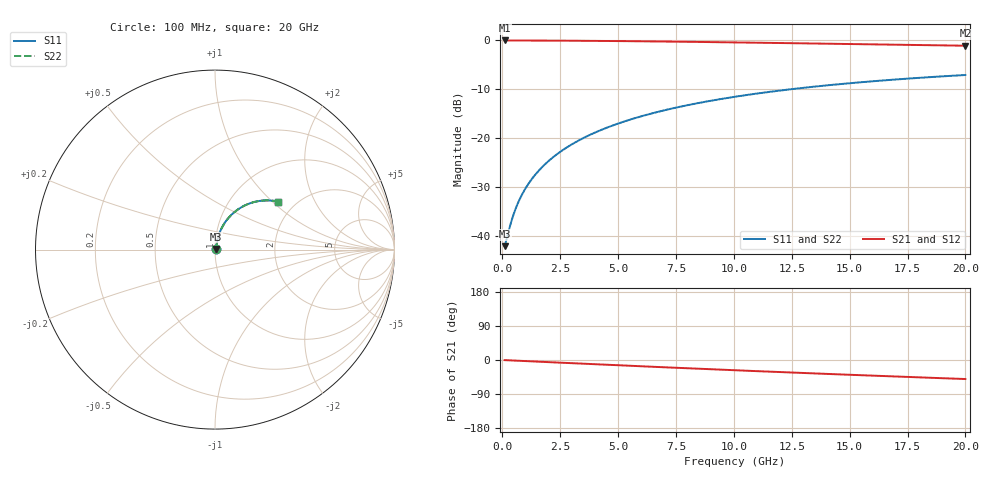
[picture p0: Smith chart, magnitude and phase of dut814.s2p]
! Touchstone file exported from HFSS 2026.1.0
!  File:  C:/ffzhzh/LocalFiles/Ansys_Project_Files/temp_train_TMRDL_814_1783156351_51560.aedt
!  Generated:  05:13:44 PM Jul  4, 2026
!  Design:  TMRDL
!  Project:  temp_train_TMRDL_814_1783156351_51560
! Variables:
!  h_bsmrdl = 2um
!  h_ox = 20um
!  h_rdl = 5um
!  h_sub = 80um
!  h_tmrdl = 3.62um
!  h_tsv = 80um
!  h_via = 3um
!  l_bsmrdl = 300um
!  l_sub = 1189.88um
!  l_tmrdl = 789.88um
!  m_sub = 200um
!  pitch = 27.27um
!  r_tsv = 6um
!  s_tmrdl = 10um
!  w_bsmrdl = 18um
!  w_sub = 500um
!  w_tmrdl = 10.54um
!  x_tsv_center1 = 795.15um
!  x_tsv_center2 = 1113.15um
!  x_tsv_center3 = 1913.57um
!  x_tsv_center4 = 2231.57um
!  x_tsv_center5 = 3031.99um
!  x_tsv_center6 = 3349.99um
# GHz S MA R 50.000000
! Terminal data exported
! Port[1] = TM_RDL1_1_T1
! Port[2] = TM_RDL1_1_T2
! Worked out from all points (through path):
!   200 points, 100 MHz to 20 GHz, reference 50 ohm
!   highest |S21| = -0.06 dB at 100 MHz (marker M1); lowest = -1.1 dB at 20 GHz (marker M2)
!   group delay of S21, straight-line fit = 6.97 ps
!   lowest |S11| = -42.0 dB at 100 MHz (marker M3), VSWR 1.02, Z = 50.7 + j0.312 ohm
!   |S11| at or under -10 dB: start of sweep to 12.49 GHz
!   |S22| runs from -42.0 to -7.1 dB; largest |S21 - S12| = 3.4e-15
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0.1  0.007915 22.8  0.9927 -0.3  0.9927 -0.3  0.007915 22.8
! Gamma 0 0 0 0
! Port Impedance 50 0 50 0
0.4  0.01441 56.7  0.9923 -1.2  0.9923 -1.2  0.01441 56.7
0.5  0.01705 61.3  0.9921 -1.4  0.9921 -1.4  0.01705 61.3
0.6  0.01973 64.5  0.9919 -1.7  0.9919 -1.7  0.01973 64.5
0.7  0.02245 66.9  0.9917 -2.0  0.9917 -2.0  0.02245 66.9
0.9  0.02793 70.1  0.9914 -2.6  0.9914 -2.6  0.02793 70.1
1.2  0.03622 72.9  0.9908 -3.4  0.9908 -3.4  0.03622 72.9
1.4  0.04178 74.0  0.9905 -4.0  0.9905 -4.0  0.04178 74.0
1.7  0.05016 75.0  0.9899 -4.8  0.9899 -4.8  0.05016 75.0
2.2  0.06416 75.6  0.9888 -6.2  0.9888 -6.2  0.06416 75.6
2.8  0.08091 75.4  0.9872 -7.8  0.9872 -7.8  0.08091 75.3
3.5  0.1003 74.5  0.9849 -9.8  0.9849 -9.8  0.1003 74.4
4.2  0.1195 73.2  0.9823 -11.7  0.9823 -11.7  0.1195 73.2
5  0.141 71.5  0.9787 -13.9  0.9787 -13.9  0.141 71.5
5.9  0.1646 69.5  0.9742 -16.3  0.9742 -16.3  0.1646 69.5
6.8  0.1876 67.3  0.9693 -18.7  0.9693 -18.7  0.1876 67.3
8.3  0.2243 63.7  0.9602 -22.6  0.9602 -22.6  0.2243 63.7
10.1  0.2657 59.4  0.9482 -27.2  0.9482 -27.2  0.2658 59.4
11.7  0.3001 55.6  0.9369 -31.1  0.9369 -31.1  0.3001 55.6
13.4  0.334 51.7  0.9246 -35.3  0.9246 -35.3  0.334 51.7
16.7  0.3924 44.3  0.9005 -42.9  0.9005 -42.9  0.3924 44.3
20  0.4411 37.3  0.8774 -50.2  0.8774 -50.2  0.4411 37.3
